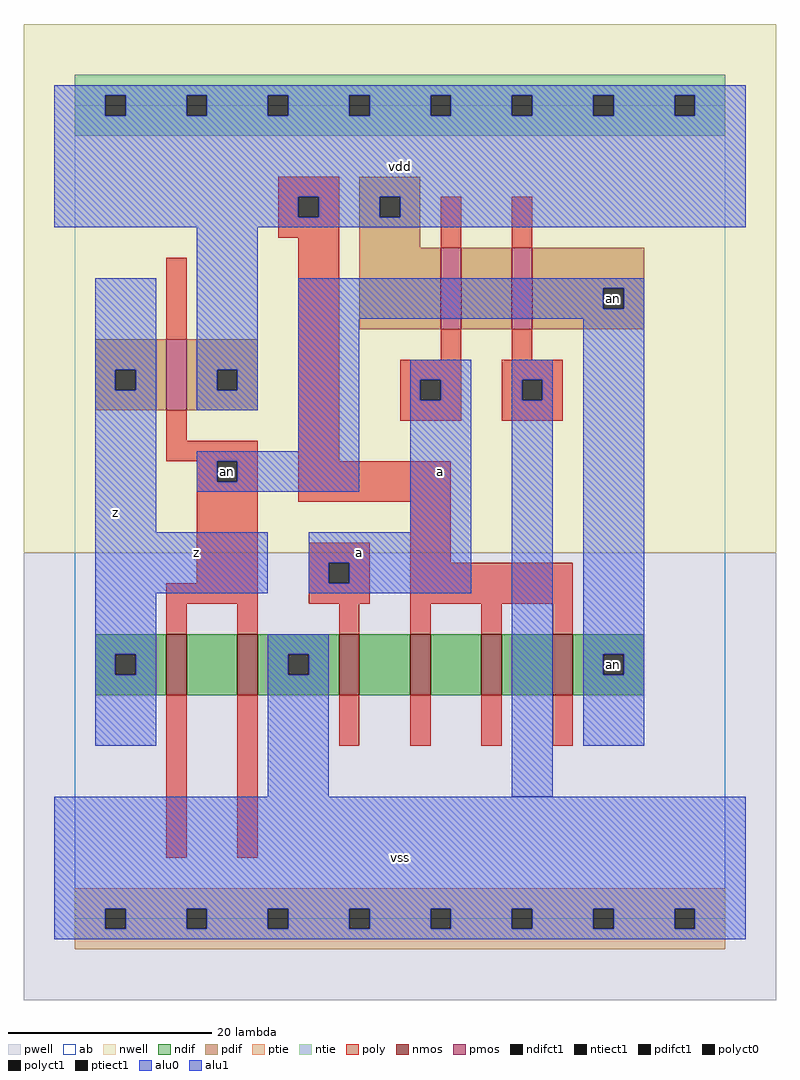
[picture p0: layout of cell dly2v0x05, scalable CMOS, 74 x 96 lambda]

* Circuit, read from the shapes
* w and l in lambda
.subckt dly2v0x05 a an vdd vss z
M1 n1 an z vss nfet w=6 l=2
M2 vss an n1 vss nfet w=6 l=2
M3 n2 a vss vss nfet w=6 l=2
M4 n3 vdd n2 vss nfet w=6 l=2
M5 n4 vdd n3 vss nfet w=6 l=2
M6 an vdd n4 vss nfet w=6 l=2
M7 vdd an z vdd pfet w=7 l=2
M8 n5 a vdd vdd pfet w=8 l=2
M9 an vss n5 vdd pfet w=8 l=2
.ends

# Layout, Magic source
magic
tech scmos
<< ab >>
rect 0 0 64 80
<< nwell >>
rect -5 36 69 88
<< pwell >>
rect -5 -8 69 36
<< poly >>
rect 20 71 26 73
rect 20 69 22 71
rect 24 69 26 71
rect 20 67 26 69
rect 9 57 11 65
rect 9 47 11 50
rect 9 45 18 47
rect 12 43 14 45
rect 16 43 18 45
rect 12 33 18 43
rect 22 45 26 67
rect 36 66 38 71
rect 43 66 45 71
rect 36 55 38 58
rect 43 55 45 58
rect 32 53 38 55
rect 32 51 34 53
rect 36 51 38 53
rect 32 49 38 51
rect 42 53 48 55
rect 42 51 44 53
rect 46 51 48 53
rect 42 49 48 51
rect 22 41 37 45
rect 9 31 18 33
rect 23 35 29 37
rect 23 33 25 35
rect 27 33 29 35
rect 23 31 29 33
rect 33 35 37 41
rect 33 31 49 35
rect 9 28 11 31
rect 16 28 18 31
rect 26 28 28 31
rect 33 28 35 31
rect 40 28 42 31
rect 47 28 49 31
rect 9 6 11 22
rect 16 6 18 22
rect 26 17 28 22
rect 33 17 35 22
rect 40 17 42 22
rect 47 17 49 22
<< ndif >>
rect 2 26 9 28
rect 2 24 4 26
rect 6 24 9 26
rect 2 22 9 24
rect 11 22 16 28
rect 18 26 26 28
rect 18 24 21 26
rect 23 24 26 26
rect 18 22 26 24
rect 28 22 33 28
rect 35 22 40 28
rect 42 22 47 28
rect 49 26 56 28
rect 49 24 52 26
rect 54 24 56 26
rect 49 22 56 24
<< pdif >>
rect 2 54 9 57
rect 2 52 4 54
rect 6 52 9 54
rect 2 50 9 52
rect 11 54 18 57
rect 11 52 14 54
rect 16 52 18 54
rect 11 50 18 52
rect 28 71 34 73
rect 28 69 30 71
rect 32 69 34 71
rect 28 66 34 69
rect 28 58 36 66
rect 38 58 43 66
rect 45 62 56 66
rect 45 60 52 62
rect 54 60 56 62
rect 45 58 56 60
<< alu1 >>
rect -2 81 66 82
rect -2 79 3 81
rect 5 79 11 81
rect 13 79 19 81
rect 21 79 27 81
rect 29 79 35 81
rect 37 79 43 81
rect 45 79 51 81
rect 53 79 59 81
rect 61 79 66 81
rect -2 71 66 79
rect -2 69 22 71
rect 24 69 30 71
rect 32 69 66 71
rect -2 68 66 69
rect 2 54 8 63
rect 2 52 4 54
rect 6 52 8 54
rect 2 38 8 52
rect 12 54 18 68
rect 12 52 14 54
rect 16 52 18 54
rect 12 50 18 52
rect 22 62 56 63
rect 22 60 52 62
rect 54 60 56 62
rect 22 59 56 60
rect 22 46 28 59
rect 12 45 28 46
rect 12 43 14 45
rect 16 43 28 45
rect 12 42 28 43
rect 33 53 39 55
rect 33 51 34 53
rect 36 51 39 53
rect 33 38 39 51
rect 2 32 19 38
rect 23 35 39 38
rect 23 33 25 35
rect 27 33 39 35
rect 23 32 39 33
rect 2 26 8 32
rect 2 24 4 26
rect 6 24 8 26
rect 2 17 8 24
rect 19 26 25 28
rect 19 24 21 26
rect 23 24 25 26
rect 19 12 25 24
rect 50 26 56 59
rect 50 24 52 26
rect 54 24 56 26
rect 50 17 56 24
rect -2 1 66 12
rect -2 -1 3 1
rect 5 -1 11 1
rect 13 -1 19 1
rect 21 -1 27 1
rect 29 -1 35 1
rect 37 -1 43 1
rect 45 -1 51 1
rect 53 -1 59 1
rect 61 -1 66 1
rect -2 -2 66 -1
<< ptie >>
rect 0 1 64 3
rect 0 -1 3 1
rect 5 -1 11 1
rect 13 -1 19 1
rect 21 -1 27 1
rect 29 -1 35 1
rect 37 -1 43 1
rect 45 -1 51 1
rect 53 -1 59 1
rect 61 -1 64 1
rect 0 -3 64 -1
<< ntie >>
rect 0 81 64 83
rect 0 79 3 81
rect 5 79 11 81
rect 13 79 19 81
rect 21 79 27 81
rect 29 79 35 81
rect 37 79 43 81
rect 45 79 51 81
rect 53 79 59 81
rect 61 79 64 81
rect 0 77 64 79
<< nmos >>
rect 9 22 11 28
rect 16 22 18 28
rect 26 22 28 28
rect 33 22 35 28
rect 40 22 42 28
rect 47 22 49 28
<< pmos >>
rect 9 50 11 57
rect 36 58 38 66
rect 43 58 45 66
<< polyct0 >>
rect 44 51 46 53
<< polyct1 >>
rect 22 69 24 71
rect 14 43 16 45
rect 34 51 36 53
rect 25 33 27 35
<< ndifct1 >>
rect 4 24 6 26
rect 21 24 23 26
rect 52 24 54 26
<< ntiect1 >>
rect 3 79 5 81
rect 11 79 13 81
rect 19 79 21 81
rect 27 79 29 81
rect 35 79 37 81
rect 43 79 45 81
rect 51 79 53 81
rect 59 79 61 81
<< ptiect1 >>
rect 3 -1 5 1
rect 11 -1 13 1
rect 19 -1 21 1
rect 27 -1 29 1
rect 35 -1 37 1
rect 43 -1 45 1
rect 51 -1 53 1
rect 59 -1 61 1
<< pdifct1 >>
rect 4 52 6 54
rect 14 52 16 54
rect 30 69 32 71
rect 52 60 54 62
<< alu0 >>
rect 43 53 47 55
rect 43 51 44 53
rect 46 51 47 53
rect 43 12 47 51
<< labels >>
rlabel polyct1 15 44 15 44 6 an
rlabel ndifct1 53 25 53 25 6 an
rlabel pdifct1 53 61 53 61 6 an
rlabel alu1 12 36 12 36 6 z
rlabel alu1 4 40 4 40 6 z
rlabel alu1 28 36 28 36 6 a
rlabel alu1 32 6 32 6 6 vss
rlabel alu1 36 44 36 44 6 a
rlabel alu1 32 74 32 74 6 vdd
<< end >>
